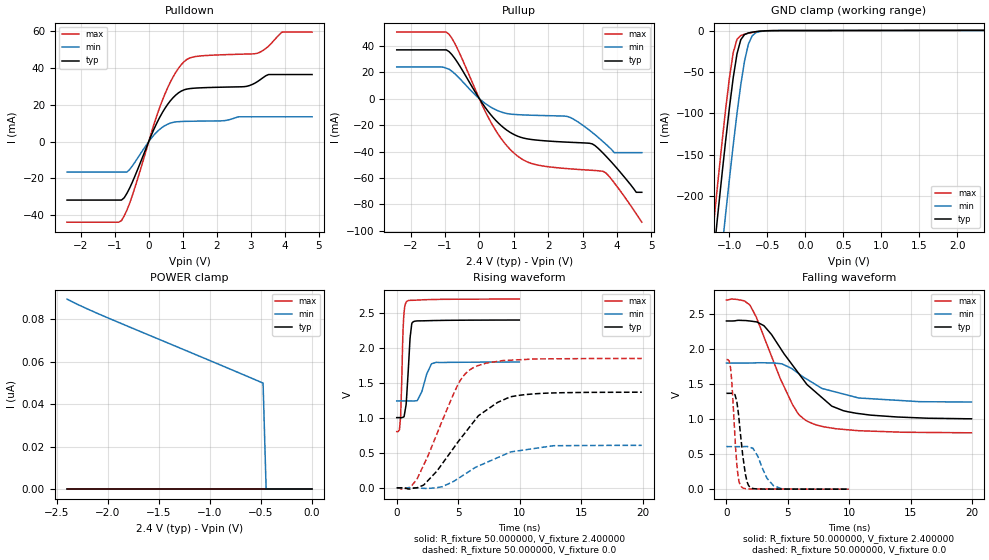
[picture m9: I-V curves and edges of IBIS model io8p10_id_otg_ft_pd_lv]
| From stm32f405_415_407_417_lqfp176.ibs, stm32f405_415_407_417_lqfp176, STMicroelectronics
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|   Model io8p10_id_otg_ft_pd_lv
[Model]  io8p10_id_otg_ft_pd_lv
Model_type I/O
Polarity   Non-Inverting
Enable   Active-Low
Vinl =   0.720000V
Vinh =   1.680000V
Vmeas =  1.200000V
Cref =   40.000000pF
Rref =   100.000000M
Vref =   0.0V
C_comp   2.229800pF   2.169700pF   2.325100pF
[Temperature Range]   25.000000   0.125000k   -40.000000
[Pullup Reference]   2.400000V   1.800000V   2.700000V
[Pulldown Reference]   0.0V   0.0V   0.0V
[POWER Clamp Reference]   2.400000V   1.800000V   2.700000V
[GND Clamp Reference]   0.0V   0.0V   0.0V
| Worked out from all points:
|   slope of the pulldown table from 0 to 0.36 V, typ, clamps not added: 25 ohm
|   slope of the pullup table from 0 to 0.36 V, typ, clamps not added: 27.7 ohm
|   GND clamp passes 1 mA (typ) near -0.62 V on its own axis
|   rising waveform, R_fixture 50.000000, V_fixture 2.400000: 20-80 % time 278ps typ, 621ps min, 185ps max; typ from 1 V to 2.4 V
|   rising waveform, R_fixture 50.000000, V_fixture 0.0: 20-80 % time 3.75ns typ, 4.02ns min, 2.67ns max; typ from 0 V to 1.37 V
|   falling waveform, R_fixture 50.000000, V_fixture 2.400000: 20-80 % time 3.94ns typ, 4.01ns min, 2.73ns max; typ from 2.4 V to 1 V
|   falling waveform, R_fixture 50.000000, V_fixture 0.0: 20-80 % time 528ps typ, 975ps min, 382ps max; typ from 1.37 V to 0 V
[Pulldown]
|Voltage   I(typ)   I(min)   I(max)
-2.4V     -31.73mA   -16.51mA   -43.74mA
-800mV    -31.73mA   -16.51mA   -42.87mA
-480mV    -21.97mA   -13.17mA   -29.2mA
80mV      3.629mA    1.966mA    5.013mA
480mV     18.15mA    8.737mA    26.01mA
800mV     25.37mA    10.71mA    37.77mA
1.12V     28.53mA    11.02mA    44.6mA
2.8V      29.83mA    13.48mA    47.51mA
3.2V      32.64mA    13.48mA    48.03mA
3.52V     36.41mA    13.48mA    51.82mA
3.92V     36.41mA    13.48mA    59.47mA
4.8V      36.41mA    13.48mA    59.47mA
[Pullup]
|Voltage   I(typ)   I(min)   I(max)
-2.4V     36.9mA     24.03mA    50.36mA
-960mV    36.9mA     23.04mA    50.36mA
-640mV    27.65mA    17.03mA    37.99mA
320mV     -11.75mA   -6.207mA   -17.08mA
960mV     -26.47mA   -11.82mA   -40.02mA
1.52V     -30.88mA   -12.51mA   -49.05mA
2.56V     -32.88mA   -13.48mA   -52.9mA
3.28V     -34.19mA   -25.52mA   -54.18mA
3.6V      -41.31mA   -32.62mA   -54.98mA
3.92V     -50.33mA   -40.8mA    -63.62mA
4.56V     -70.8mA    -40.8mA    -87.07mA
4.72V     -70.8mA    -40.8mA    -93.4mA
[GND_clamp]
|Voltage   I(typ)   I(min)   I(max)
-2.4V     -1.424A    -1.508A    -1.393A
-1.25V    -311.2mA   -401.9mA   -273.3mA
-1.2V     -265.4mA   -356.1mA   -227.2mA
-1.15V    -220.4mA   -310.8mA   -181.9mA
-1.1V     -176.3mA   -266.2mA   -137.9mA
-1.05V    -133.8mA   -222.5mA   -95.89mA
-950mV    -57.33mA   -138.9mA   -27.03mA
-900mV    -28.31mA   -100.4mA   -10.67mA
-850mV    -11.07mA   -65.56mA   -6.047mA
-750mV    -2.904mA   -16.55mA   -3.26mA
-600mV    -808.2uA   -1.212mA   -806.8uA
2.35V     242.6uA    152uA      283.9uA
[POWER_clamp]
|Voltage   I(typ)   I(min)   I(max)
-2.4V     0A         89.62nA    0A
-2.04V    0A         81.58nA    0A
-480mV    0A         50.01nA    0A
-450mV    0A         0A         0A
0V        0A         0A         0A
[Ramp]
| variable   typ   min   max
dV/dt_r  0.81942/3.74550n   0.36445/4.02212n   1.11090/2.67986n
dV/dt_f  0.83334/3.93761n   0.33360/4.08325n   1.13504/2.73520n
R_load = 50.000000
[Rising Waveform]
R_fixture= 50.000000
V_fixture= 2.400000
V_fixture_min= 1.800000
V_fixture_max= 2.700000
|time   V(typ)   V(min)   V(max)
0s        1.003V     1.242V     802.8mV
220.2ps   1.003V     1.242V     829.3mV
300.3ps   1.002V     1.242V     987.1mV
560.6ps   1.011V     1.242V     2.419V
820.8ps   1.342V     1.242V     2.661V
1.081ns   2.13V      1.242V     2.676V
1.341ns   2.371V     1.24V      2.678V
2.042ns   2.384V     1.374V     2.684V
2.843ns   2.388V     1.772V     2.688V
9.97ns    2.396V     1.796V     2.695V
[Rising Waveform]
R_fixture= 50.000000
V_fixture= 0.0
V_fixture_min= 0.0
V_fixture_max= 0.0
|time   V(typ)   V(min)   V(max)
0s        168.9uV    66.49uV    586.3uV
1.121ns   -14.72mV   125.1uV    12.37mV
1.642ns   550.7uV    -515.2uV   121.8mV
3.283ns   241.9mV    2.477mV    777.3mV
5.005ns   660.4mV    134.3mV    1.485V
6.246ns   939.8mV    275mV      1.716V
8.168ns   1.215V     428.3mV    1.805V
9.57ns    1.31V      520.6mV    1.825V
12.77ns   1.355V     601.6mV    1.842V
19.94ns   1.366V     606.5mV    1.847V
[Falling Waveform]
R_fixture= 50.000000
V_fixture= 2.400000
V_fixture_min= 1.800000
V_fixture_max= 2.700000
|time   V(typ)   V(min)   V(max)
0s        2.396V     1.796V     2.695V
1.441ns   2.403V     1.796V     2.683V
1.922ns   2.395V     1.797V     2.619V
3.083ns   2.322V     1.8V       2.156V
4.364ns   2.015V     1.788V     1.581V
5.365ns   1.769V     1.712V     1.209V
6.527ns   1.496V     1.568V     973.5mV
8.569ns   1.183V     1.399V     870.2mV
9.85ns    1.104V     1.34V      846.4mV
19.94ns   1.003V     1.242V     802.8mV
[Falling Waveform]
R_fixture= 50.000000
V_fixture= 0.0
V_fixture_min= 0.0
V_fixture_max= 0.0
|time   V(typ)   V(min)   V(max)
0s        1.366V     606.5mV    1.847V
340.3ps   1.366V     606.5mV    1.715V
440.4ps   1.365V     606.5mV    1.517V
700.7ps   1.341V     606.4mV    720.6mV
940.9ps   1.122V     606.1mV    194.5mV
1.221ns   652.9mV    606mV      33.76mV
1.542ns   213.2mV    607.1mV    7.476mV
2.022ns   17.93mV    589.9mV    2.845mV
3.844ns   1.249mV    47.82mV    1.395mV
9.97ns    168.9uV    66.49uV    586.3uV
